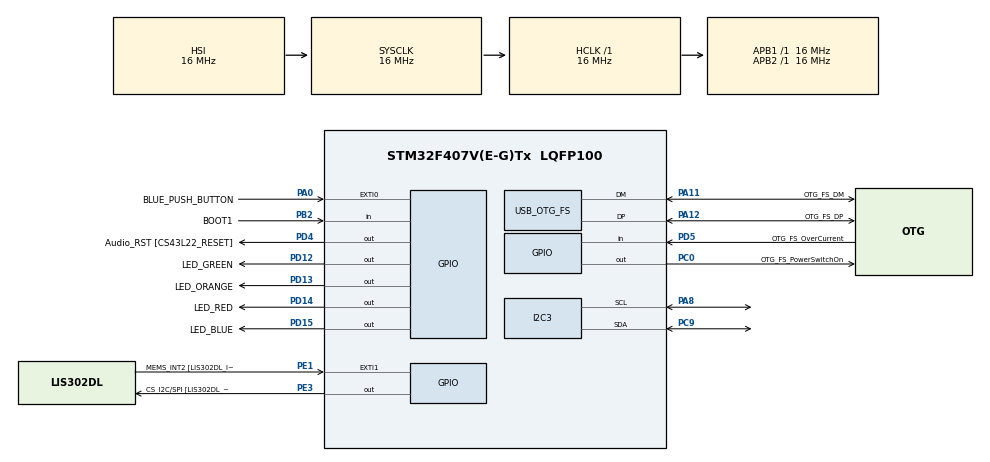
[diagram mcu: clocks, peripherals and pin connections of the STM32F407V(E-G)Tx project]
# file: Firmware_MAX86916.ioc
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Mcu.Family=STM32F4
Mcu.Name=STM32F407V(E-G)Tx
Mcu.Package=LQFP100
NVIC.EXTI0_IRQn=true\:0\:0\:false\:false\:true\:true\:true
NVIC.OTG_FS_IRQn=true\:0\:0\:false\:false\:true\:false\:true
NVIC.PriorityGroup=NVIC_PRIORITYGROUP_0
PA0-WKUP.GPIO_Label=BLUE_PUSH_BUTTON
PA0-WKUP.GPIO_ModeDefaultEXTI=GPIO_MODE_IT_FALLING
PA0-WKUP.Signal=GPXTI0
PA10.GPIO_Label=OTG_FS_ID
PA10.GPIO_Mode=GPIO_MODE_AF_PP
PA10.GPIO_PuPd=GPIO_NOPULL
PA10.GPIO_Speed=GPIO_SPEED_FREQ_LOW
PA10.Signal=USB_OTG_FS_ID
PA11.GPIO_Label=OTG_FS_DM
PA11.GPIO_Mode=GPIO_MODE_AF_PP
PA11.GPIO_PuPd=GPIO_NOPULL
PA11.GPIO_Speed=GPIO_SPEED_FREQ_LOW
PA11.Mode=Device_Only
PA11.Signal=USB_OTG_FS_DM
PA12.GPIO_Label=OTG_FS_DP
PA12.GPIO_Mode=GPIO_MODE_AF_PP
PA12.GPIO_PuPd=GPIO_NOPULL
PA12.GPIO_Speed=GPIO_SPEED_FREQ_LOW
PA12.Mode=Device_Only
PA12.Signal=USB_OTG_FS_DP
PA13.GPIO_Label=SWDIO
PA13.Signal=SYS_JTMS-SWDIO
PA14.GPIO_Label=SWCLK
PA14.Signal=SYS_JTCK-SWCLK
PA4.GPIO_Label=I2S3_WS [CS43L22_LRCK]
PA4.GPIO_Mode=GPIO_MODE_AF_PP
PA4.GPIO_PuPd=GPIO_NOPULL
PA4.GPIO_Speed=GPIO_SPEED_FREQ_LOW
PA4.Signal=I2S3_WS
PA5.GPIO_Label=SPI1_SCK [LIS302DL_SCL/SPC]
PA5.GPIO_Mode=GPIO_MODE_AF_PP
PA5.GPIO_PuPd=GPIO_NOPULL
PA5.GPIO_Speed=GPIO_SPEED_FREQ_LOW
PA5.Signal=SPI1_SCK
PA6.GPIO_Label=SPI1_MISO [LIS302DL_SDO]
PA6.GPIO_Mode=GPIO_MODE_AF_PP
PA6.GPIO_PuPd=GPIO_NOPULL
PA6.GPIO_Speed=GPIO_SPEED_FREQ_LOW
PA6.Signal=SPI1_MISO
PA7.GPIO_Label=SPI1_MOSI [LIS302DL_SDA/SDI/SDO]
PA7.GPIO_Mode=GPIO_MODE_AF_PP
PA7.GPIO_PuPd=GPIO_NOPULL
PA7.GPIO_Speed=GPIO_SPEED_FREQ_LOW
PA7.Signal=SPI1_MOSI
PA8.GPIO_Pu=GPIO_PULLUP
PA8.GPIO_Speed=GPIO_SPEED_FREQ_MEDIUM
PA8.Mode=I2C
PA8.Signal=I2C3_SCL
PA9.GPIO_Label=VBUS_FS
PA9.GPIO_Mode=GPIO_MODE_INPUT
PA9.GPIO_PuPd=GPIO_NOPULL
PA9.Signal=USB_OTG_FS_VBUS
PB10.GPIO_Label=CLK_IN [MP45DT02_CLK]
PB10.GPIO_Mode=GPIO_MODE_AF_PP
PB10.GPIO_PuPd=GPIO_NOPULL
PB10.GPIO_Speed=GPIO_SPEED_FREQ_LOW
PB10.Signal=I2S2_CK
PB2.GPIO_Label=BOOT1
PB2.GPIO_Mode=GPIO_MODE_INPUT
PB2.GPIO_PuPd=GPIO_NOPULL
PB2.Signal=GPIO_Input
PB3.GPIO_Label=SWO
PB3.Signal=SYS_JTDO-SWO
PB6.GPIO_Label=Audio_SCL [CS43L22_SCL]
PB6.GPIO_Mode=GPIO_MODE_AF_OD
PB6.GPIO_PuPd=GPIO_NOPULL
PB6.GPIO_Speed=GPIO_SPEED_FREQ_LOW
PB6.Signal=I2C1_SCL
PB9.GPIO_Label=Audio_SDA [CS43L22_SDA]
PB9.GPIO_Mode=GPIO_MODE_AF_OD
PB9.GPIO_PuPd=GPIO_NOPULL
PB9.GPIO_Speed=GPIO_SPEED_FREQ_LOW
PB9.Signal=I2C1_SDA
PC0.GPIO_Label=OTG_FS_PowerSwitchOn
PC0.GPIO_PuPd=GPIO_NOPULL
PC0.GPIO_Speed=GPIO_SPEED_FREQ_LOW
PC0.PinState=GPIO_PIN_SET
PC0.Signal=GPIO_Output
PC10.GPIO_Label=I2S3_SCK [CS43L22_SCLK]
PC10.GPIO_Mode=GPIO_MODE_AF_PP
PC10.GPIO_PuPd=GPIO_NOPULL
PC10.GPIO_Speed=GPIO_SPEED_FREQ_LOW
PC10.Signal=I2S3_CK
PC12.GPIO_Label=I2S3_SD [CS43L22_SDIN]
PC12.GPIO_Mode=GPIO_MODE_AF_PP
PC12.GPIO_PuPd=GPIO_NOPULL
PC12.GPIO_Speed=GPIO_SPEED_FREQ_LOW
PC12.Signal=I2S3_SD
PC14-OSC32_IN.GPIO_Label=PC14-OSC32_IN
PC14-OSC32_IN.Signal=RCC_OSC32_IN
PC15-OSC32_OUT.GPIO_Label=PC15-OSC32_OUT
PC15-OSC32_OUT.Signal=RCC_OSC32_OUT
PC3.GPIO_Label=PDM_OUT [MP45DT02_DOUT]
PC3.GPIO_Mode=GPIO_MODE_AF_PP
PC3.GPIO_PuPd=GPIO_NOPULL
PC3.GPIO_Speed=GPIO_SPEED_FREQ_LOW
PC3.Signal=I2S2_SD
PC7.GPIO_Label=I2S3_MCK [CS43L22_MCLK]
PC7.GPIO_Mode=GPIO_MODE_AF_PP
PC7.GPIO_PuPd=GPIO_NOPULL
PC7.GPIO_Speed=GPIO_SPEED_FREQ_LOW
PC7.Signal=I2S3_MCK
PC9.GPIO_Pu=GPIO_PULLUP
PC9.GPIO_Speed=GPIO_SPEED_FREQ_MEDIUM
PC9.Mode=I2C
PC9.Signal=I2C3_SDA
PD12.GPIO_Label=LED_GREEN
PD12.GPIO_PuPd=GPIO_NOPULL
PD12.GPIO_Speed=GPIO_SPEED_FREQ_LOW
PD12.Signal=GPIO_Output
PD13.GPIO_Label=LED_ORANGE
PD13.GPIO_PuPd=GPIO_NOPULL
PD13.GPIO_Speed=GPIO_SPEED_FREQ_LOW
PD13.Signal=GPIO_Output
PD14.GPIO_Label=LED_RED
PD14.GPIO_PuPd=GPIO_NOPULL
PD14.GPIO_Speed=GPIO_SPEED_FREQ_LOW
PD14.Signal=GPIO_Output
PD15.GPIO_Label=LED_BLUE
PD15.GPIO_PuPd=GPIO_NOPULL
PD15.GPIO_Speed=GPIO_SPEED_FREQ_LOW
PD15.Signal=GPIO_Output
PD4.GPIO_Label=Audio_RST [CS43L22_RESET]
PD4.GPIO_PuPd=GPIO_NOPULL
PD4.GPIO_Speed=GPIO_SPEED_FREQ_LOW
PD4.Signal=GPIO_Output
PD5.GPIO_Label=OTG_FS_OverCurrent
PD5.GPIO_Mode=GPIO_MODE_INPUT
PD5.GPIO_PuPd=GPIO_NOPULL
PD5.Signal=GPIO_Input
PE1.GPIO_Label=MEMS_INT2 [LIS302DL_INT2]
PE1.GPIO_ModeDefaultEXTI=GPIO_MODE_EVT_RISING
PE1.GPIO_PuPd=GPIO_NOPULL
PE1.Signal=GPXTI1
PE3.GPIO_Label=CS_I2C/SPI [LIS302DL_CS_I2C/SPI]
PE3.GPIO_PuPd=GPIO_NOPULL
PE3.GPIO_Speed=GPIO_SPEED_FREQ_LOW
PE3.Signal=GPIO_Output
PH0-OSC_IN.GPIO_Label=PH0-OSC_IN
PH0-OSC_IN.Mode=HSE-External-Oscillator
PH0-OSC_IN.Signal=RCC_OSC_IN
PH1-OSC_OUT.GPIO_Label=PH1-OSC_OUT
PH1-OSC_OUT.Mode=HSE-External-Oscillator
PH1-OSC_OUT.Signal=RCC_OSC_OUT
ProjectManager.HeapSize=0x200
ProjectManager.StackSize=0x400
ProjectManager.TargetToolchain=STM32CubeIDE
RCC.48MHZClocksFreq_Value=48000000
RCC.AHBFreq_Value=16000000
RCC.APB1Freq_Value=16000000
RCC.APB1TimFreq_Value=16000000
RCC.APB2Freq_Value=16000000
RCC.APB2TimFreq_Value=16000000
RCC.CortexFreq_Value=16000000
RCC.HCLKFreq_Value=16000000
RCC.HSE_VALUE=8000000
RCC.HSI_VALUE=16000000
RCC.LSE_VALUE=32768
RCC.PLLM=8
RCC.PLLN=336
RCC.PLLP=RCC_PLLP_DIV4
RCC.PLLQ=7
RCC.SYSCLKFreq_VALUE=16000000
RCC.VCOOutputFreq_Value=336000000
USB_DEVICE.CLASS_NAME_FS=CDC
USB_DEVICE.VirtualMode-CDC_FS=Cdc
USB_DEVICE.VirtualModeFS=Cdc_FS
USB_OTG_FS.VirtualMode=Device_Only
VP_USB_DEVICE_VS_USB_DEVICE_CDC_FS.Mode=CDC_FS
board=STM32F407G-DISC1

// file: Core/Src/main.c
/* USER CODE BEGIN Header */
/**
 ******************************************************************************
 * @file           : main.c
 * @brief          : Main program body
 ******************************************************************************
 * @attention
 *
 * <h2><center>&copy; Copyright (c) 2021 STMicroelectronics.
 * All rights reserved.</center></h2>
 *
 * This software component is licensed by ST under BSD 3-Clause license,
 * the "License"; You may not use this file except in compliance with the
 * License. You may obtain a copy of the License at:
 *                        opensource.org/licenses/BSD-3-Clause
 *
 ******************************************************************************
 */
/* USER CODE END Header */
#include "main.h"
#include "usb_device.h"

/* USER CODE BEGIN Includes */
#include "MAX86916/MAX86916.h"
#include "usbd_cdc_if.h"
/* USER CODE END Includes */

/* USER CODE BEGIN PTD */
typedef enum {
	SYS_IDLE, SYS_START_UP, SYS_STREAM, SYS_ERROR
} SystemState;

typedef struct{
	SystemState state;
} DiscoveryFSM;

/* USER CODE END PTD */

I2C_HandleTypeDef hi2c3;

/* USER CODE BEGIN PV */

MAX86916_Init_TypeDef ppg_init;
DiscoveryFSM discovery;

/* USER CODE END PV */

void SystemClock_Config(void);
static void MX_GPIO_Init(void);
static void MX_I2C3_Init(void);
/* USER CODE BEGIN PFP */
void setSystemState(SystemState state);
SystemState getSystemState(void);

/* USER CODE END PFP */

int main(void)
{

  /* MCU Configuration--------------------------------------------------------*/

  /* Reset of all peripherals, Initializes the Flash interface and the Systick. */
  HAL_Init();

  /* Configure the system clock */
  SystemClock_Config();

  /* Initialize all configured peripherals */
  MX_GPIO_Init();
  MX_I2C3_Init();
  MX_USB_DEVICE_Init();
  /* USER CODE BEGIN 2 */
	HAL_Delay(500);

	setSystemState(SYS_START_UP);

	if (MAX86916_Read_Part_ID() == MAX86916_PART_ID_VALUE) {
		ppg_init.fifo_a_full = 0x0F;
		ppg_init.fifo_avg = MAX86916_FIFO_AVG_1;
		ppg_init.fifo_rollover = MAX86916_FIFO_ROLLOVER_OFF;
		ppg_init.frequency = MAX86916_SR_100Hz;
		ppg_init.full_scale = MAX86916_FS_16384;
		ppg_init.led_pa[0] = 0x05; //ired PA
		ppg_init.led_pa[1] = 0x05; //red PA
		ppg_init.led_pa[2] = 0x05; //green PA
		ppg_init.led_pa[3] = 0x05; //blue PA
		ppg_init.mode = MAX86916_MODE_FLEX;
		ppg_init.pulse_width = MAX86916_PW_420;
		ppg_init.shutdown = MAX86916_SHDNMODE_SHUTDOWN;
	} else {
		setSystemState(SYS_ERROR);
	}
  /* USER CODE END 2 */

  /* Infinite loop */
  /* USER CODE BEGIN WHILE */

	while (1) {
		switch (discovery.state){
		case SYS_START_UP:
			if(MAX86916_Config(ppg_init))
				setSystemState(SYS_IDLE);
			else
				setSystemState(SYS_ERROR);
			break;
		case SYS_IDLE:
			break;
		case SYS_STREAM:
			if (!readDataFromPPGAndSendUSB()){
				setSystemState(SYS_ERROR);
			}
			break;
		case SYS_ERROR:
			break;
		default:
			break;
		}
	}
    /* USER CODE END WHILE */

}

void SystemClock_Config(void)
{
  RCC_OscInitTypeDef RCC_OscInitStruct = {0};
  RCC_ClkInitTypeDef RCC_ClkInitStruct = {0};

  /** Configure the main internal regulator output voltage
  */
  __HAL_RCC_PWR_CLK_ENABLE();
  __HAL_PWR_VOLTAGESCALING_CONFIG(PWR_REGULATOR_VOLTAGE_SCALE1);
  /** Initializes the RCC Oscillators according to the specified parameters
  * in the RCC_OscInitTypeDef structure.
  */
  RCC_OscInitStruct.OscillatorType = RCC_OSCILLATORTYPE_HSI|RCC_OSCILLATORTYPE_HSE;
  RCC_OscInitStruct.HSEState = RCC_HSE_ON;
  RCC_OscInitStruct.HSIState = RCC_HSI_ON;
  RCC_OscInitStruct.HSICalibrationValue = RCC_HSICALIBRATION_DEFAULT;
  RCC_OscInitStruct.PLL.PLLState = RCC_PLL_ON;
  RCC_OscInitStruct.PLL.PLLSource = RCC_PLLSOURCE_HSE;
  RCC_OscInitStruct.PLL.PLLM = 8;
  RCC_OscInitStruct.PLL.PLLN = 336;
  RCC_OscInitStruct.PLL.PLLP = RCC_PLLP_DIV4;
  RCC_OscInitStruct.PLL.PLLQ = 7;
  if (HAL_RCC_OscConfig(&RCC_OscInitStruct) != HAL_OK)
  {
    Error_Handler();
  }
  /** Initializes the CPU, AHB and APB buses clocks
  */
  RCC_ClkInitStruct.ClockType = RCC_CLOCKTYPE_HCLK|RCC_CLOCKTYPE_SYSCLK
                              |RCC_CLOCKTYPE_PCLK1|RCC_CLOCKTYPE_PCLK2;
  RCC_ClkInitStruct.SYSCLKSource = RCC_SYSCLKSOURCE_HSI;
  RCC_ClkInitStruct.AHBCLKDivider = RCC_SYSCLK_DIV1;
  RCC_ClkInitStruct.APB1CLKDivider = RCC_HCLK_DIV1;
  RCC_ClkInitStruct.APB2CLKDivider = RCC_HCLK_DIV1;

  if (HAL_RCC_ClockConfig(&RCC_ClkInitStruct, FLASH_LATENCY_0) != HAL_OK)
  {
    Error_Handler();
  }
}

static void MX_I2C3_Init(void)
{

  hi2c3.Instance = I2C3;
  hi2c3.Init.ClockSpeed = 100000;
  hi2c3.Init.DutyCycle = I2C_DUTYCYCLE_2;
  hi2c3.Init.OwnAddress1 = 0;
  hi2c3.Init.AddressingMode = I2C_ADDRESSINGMODE_7BIT;
  hi2c3.Init.DualAddressMode = I2C_DUALADDRESS_DISABLE;
  hi2c3.Init.OwnAddress2 = 0;
  hi2c3.Init.GeneralCallMode = I2C_GENERALCALL_DISABLE;
  hi2c3.Init.NoStretchMode = I2C_NOSTRETCH_DISABLE;
  if (HAL_I2C_Init(&hi2c3) != HAL_OK)
  {
    Error_Handler();
  }

}

static void MX_GPIO_Init(void)
{
  GPIO_InitTypeDef GPIO_InitStruct = {0};

  /* GPIO Ports Clock Enable */
  __HAL_RCC_GPIOE_CLK_ENABLE();
  __HAL_RCC_GPIOC_CLK_ENABLE();
  __HAL_RCC_GPIOH_CLK_ENABLE();
  __HAL_RCC_GPIOA_CLK_ENABLE();
  __HAL_RCC_GPIOB_CLK_ENABLE();
  __HAL_RCC_GPIOD_CLK_ENABLE();

  /*Configure GPIO pin Output Level */
  HAL_GPIO_WritePin(CS_I2C_SPI_GPIO_Port, CS_I2C_SPI_Pin, GPIO_PIN_RESET);

  /*Configure GPIO pin Output Level */
  HAL_GPIO_WritePin(OTG_FS_PowerSwitchOn_GPIO_Port, OTG_FS_PowerSwitchOn_Pin, GPIO_PIN_SET);

  /*Configure GPIO pin Output Level */
  HAL_GPIO_WritePin(GPIOD, LED_GREEN_Pin|LED_ORANGE_Pin|LED_RED_Pin|LED_BLUE_Pin
                          |Audio_RST_Pin, GPIO_PIN_RESET);

  /*Configure GPIO pin : CS_I2C_SPI_Pin */
  GPIO_InitStruct.Pin = CS_I2C_SPI_Pin;
  GPIO_InitStruct.Mode = GPIO_MODE_OUTPUT_PP;
  GPIO_InitStruct.Pull = GPIO_NOPULL;
  GPIO_InitStruct.Speed = GPIO_SPEED_FREQ_LOW;
  HAL_GPIO_Init(CS_I2C_SPI_GPIO_Port, &GPIO_InitStruct);

  /*Configure GPIO pin : OTG_FS_PowerSwitchOn_Pin */
  GPIO_InitStruct.Pin = OTG_FS_PowerSwitchOn_Pin;
  GPIO_InitStruct.Mode = GPIO_MODE_OUTPUT_PP;
  GPIO_InitStruct.Pull = GPIO_NOPULL;
  GPIO_InitStruct.Speed = GPIO_SPEED_FREQ_LOW;
  HAL_GPIO_Init(OTG_FS_PowerSwitchOn_GPIO_Port, &GPIO_InitStruct);

  /*Configure GPIO pin : PDM_OUT_Pin */
  GPIO_InitStruct.Pin = PDM_OUT_Pin;
  GPIO_InitStruct.Mode = GPIO_MODE_AF_PP;
  GPIO_InitStruct.Pull = GPIO_NOPULL;
  GPIO_InitStruct.Speed = GPIO_SPEED_FREQ_LOW;
  GPIO_InitStruct.Alternate = GPIO_AF5_SPI2;
  HAL_GPIO_Init(PDM_OUT_GPIO_Port, &GPIO_InitStruct);

  /*Configure GPIO pin : BLUE_PUSH_BUTTON_Pin */
  GPIO_InitStruct.Pin = BLUE_PUSH_BUTTON_Pin;
  GPIO_InitStruct.Mode = GPIO_MODE_IT_FALLING;
  GPIO_InitStruct.Pull = GPIO_NOPULL;
  HAL_GPIO_Init(BLUE_PUSH_BUTTON_GPIO_Port, &GPIO_InitStruct);

  /*Configure GPIO pin : I2S3_WS_Pin */
  GPIO_InitStruct.Pin = I2S3_WS_Pin;
  GPIO_InitStruct.Mode = GPIO_MODE_AF_PP;
  GPIO_InitStruct.Pull = GPIO_NOPULL;
  GPIO_InitStruct.Speed = GPIO_SPEED_FREQ_LOW;
  GPIO_InitStruct.Alternate = GPIO_AF6_SPI3;
  HAL_GPIO_Init(I2S3_WS_GPIO_Port, &GPIO_InitStruct);

  /*Configure GPIO pins : SPI1_SCK_Pin SPI1_MISO_Pin SPI1_MOSI_Pin */
  GPIO_InitStruct.Pin = SPI1_SCK_Pin|SPI1_MISO_Pin|SPI1_MOSI_Pin;
  GPIO_InitStruct.Mode = GPIO_MODE_AF_PP;
  GPIO_InitStruct.Pull = GPIO_NOPULL;
  GPIO_InitStruct.Speed = GPIO_SPEED_FREQ_LOW;
  GPIO_InitStruct.Alternate = GPIO_AF5_SPI1;
  HAL_GPIO_Init(GPIOA, &GPIO_InitStruct);

  /*Configure GPIO pin : BOOT1_Pin */
  GPIO_InitStruct.Pin = BOOT1_Pin;
  GPIO_InitStruct.Mode = GPIO_MODE_INPUT;
  GPIO_InitStruct.Pull = GPIO_NOPULL;
  HAL_GPIO_Init(BOOT1_GPIO_Port, &GPIO_InitStruct);

  /*Configure GPIO pin : CLK_IN_Pin */
  GPIO_InitStruct.Pin = CLK_IN_Pin;
  GPIO_InitStruct.Mode = GPIO_MODE_AF_PP;
  GPIO_InitStruct.Pull = GPIO_NOPULL;
  GPIO_InitStruct.Speed = GPIO_SPEED_FREQ_LOW;
  GPIO_InitStruct.Alternate = GPIO_AF5_SPI2;
  HAL_GPIO_Init(CLK_IN_GPIO_Port, &GPIO_InitStruct);

  /*Configure GPIO pins : LED_GREEN_Pin LED_ORANGE_Pin LED_RED_Pin LED_BLUE_Pin
                           Audio_RST_Pin */
  GPIO_InitStruct.Pin = LED_GREEN_Pin|LED_ORANGE_Pin|LED_RED_Pin|LED_BLUE_Pin
                          |Audio_RST_Pin;
  GPIO_InitStruct.Mode = GPIO_MODE_OUTPUT_PP;
  GPIO_InitStruct.Pull = GPIO_NOPULL;
  GPIO_InitStruct.Speed = GPIO_SPEED_FREQ_LOW;
  HAL_GPIO_Init(GPIOD, &GPIO_InitStruct);

  /*Configure GPIO pins : I2S3_MCK_Pin I2S3_SCK_Pin I2S3_SD_Pin */
  GPIO_InitStruct.Pin = I2S3_MCK_Pin|I2S3_SCK_Pin|I2S3_SD_Pin;
  GPIO_InitStruct.Mode = GPIO_MODE_AF_PP;
  GPIO_InitStruct.Pull = GPIO_NOPULL;
  GPIO_InitStruct.Speed = GPIO_SPEED_FREQ_LOW;
  GPIO_InitStruct.Alternate = GPIO_AF6_SPI3;
  HAL_GPIO_Init(GPIOC, &GPIO_InitStruct);

  /*Configure GPIO pin : OTG_FS_OverCurrent_Pin */
  GPIO_InitStruct.Pin = OTG_FS_OverCurrent_Pin;
  GPIO_InitStruct.Mode = GPIO_MODE_INPUT;
  GPIO_InitStruct.Pull = GPIO_NOPULL;
  HAL_GPIO_Init(OTG_FS_OverCurrent_GPIO_Port, &GPIO_InitStruct);

  /*Configure GPIO pins : Audio_SCL_Pin Audio_SDA_Pin */
  GPIO_InitStruct.Pin = Audio_SCL_Pin|Audio_SDA_Pin;
  GPIO_InitStruct.Mode = GPIO_MODE_AF_OD;
  GPIO_InitStruct.Pull = GPIO_NOPULL;
  GPIO_InitStruct.Speed = GPIO_SPEED_FREQ_LOW;
  GPIO_InitStruct.Alternate = GPIO_AF4_I2C1;
  HAL_GPIO_Init(GPIOB, &GPIO_InitStruct);

  /*Configure GPIO pin : MEMS_INT2_Pin */
  GPIO_InitStruct.Pin = MEMS_INT2_Pin;
  GPIO_InitStruct.Mode = GPIO_MODE_EVT_RISING;
  GPIO_InitStruct.Pull = GPIO_NOPULL;
  HAL_GPIO_Init(MEMS_INT2_GPIO_Port, &GPIO_InitStruct);

  /* EXTI interrupt init*/
  HAL_NVIC_SetPriority(EXTI0_IRQn, 0, 0);
  HAL_NVIC_EnableIRQ(EXTI0_IRQn);

}

/* USER CODE BEGIN 4 */
bool readDataFromPPGAndSendUSB(){
	uint8_t samples[18] = {0};
	bool result = true;

	samples[0] = '?';
	samples[1] = '!';
	result &= MAX86916_Read_Sample_Flex_Mode(samples + 3, samples + 7, samples + 11, samples + 15);

	result &= CDC_Transmit_FS(samples, 18) == USBD_OK;
	HAL_Delay(9);

	return result;
}

SystemState getSystemState(void) {
	return discovery.state;
}

void setSystemState(SystemState state){
	if(getSystemState() != state){
		reset_all_leds();
		switch(state){
		case SYS_START_UP:
			HAL_GPIO_WritePin(LED_ORANGE_GPIO_Port,LED_ORANGE_Pin,GPIO_PIN_SET);
			break;
		case SYS_IDLE:
			HAL_GPIO_WritePin(LED_GREEN_GPIO_Port,LED_GREEN_Pin,GPIO_PIN_SET);
			break;
		case SYS_STREAM:
			HAL_GPIO_WritePin(LED_BLUE_GPIO_Port,LED_BLUE_Pin,GPIO_PIN_SET);
			break;
		case SYS_ERROR:
			HAL_GPIO_WritePin(LED_RED_GPIO_Port,LED_RED_Pin,GPIO_PIN_SET);
			ppg_init.shutdown = MAX86916_SHDNMODE_SHUTDOWN;
			MAX86916_Config(ppg_init);
			break;
		default:
			break;
		}
		discovery.state = state;
	}
}

void manage_button_push(void) {
	switch (getSystemState()) {
	case SYS_IDLE:
		ppg_init.shutdown = MAX86916_SHDNMODE_ON;
		if(MAX86916_Config(ppg_init))
			setSystemState(SYS_STREAM);
		else
			setSystemState(SYS_ERROR);
		break;
	case SYS_STREAM:
		ppg_init.shutdown = MAX86916_SHDNMODE_SHUTDOWN;
		if(MAX86916_Config(ppg_init))
			setSystemState(SYS_IDLE);
		else
			setSystemState(SYS_ERROR);
		break;
	default:
		break;
	}
}

void reset_all_leds(void) {
	HAL_GPIO_WritePin(LED_ORANGE_GPIO_Port,LED_ORANGE_Pin,GPIO_PIN_RESET);
	HAL_GPIO_WritePin(LED_GREEN_GPIO_Port,LED_GREEN_Pin,GPIO_PIN_RESET);
	HAL_GPIO_WritePin(LED_BLUE_GPIO_Port,LED_BLUE_Pin,GPIO_PIN_RESET);
	HAL_GPIO_WritePin(LED_RED_GPIO_Port,LED_RED_Pin,GPIO_PIN_RESET);
}

/* USER CODE END 4 */

void Error_Handler(void)
{
	__disable_irq();
	while (1) {
	}
}

/************************ (C) COPYRIGHT STMicroelectronics *****END OF FILE****/
